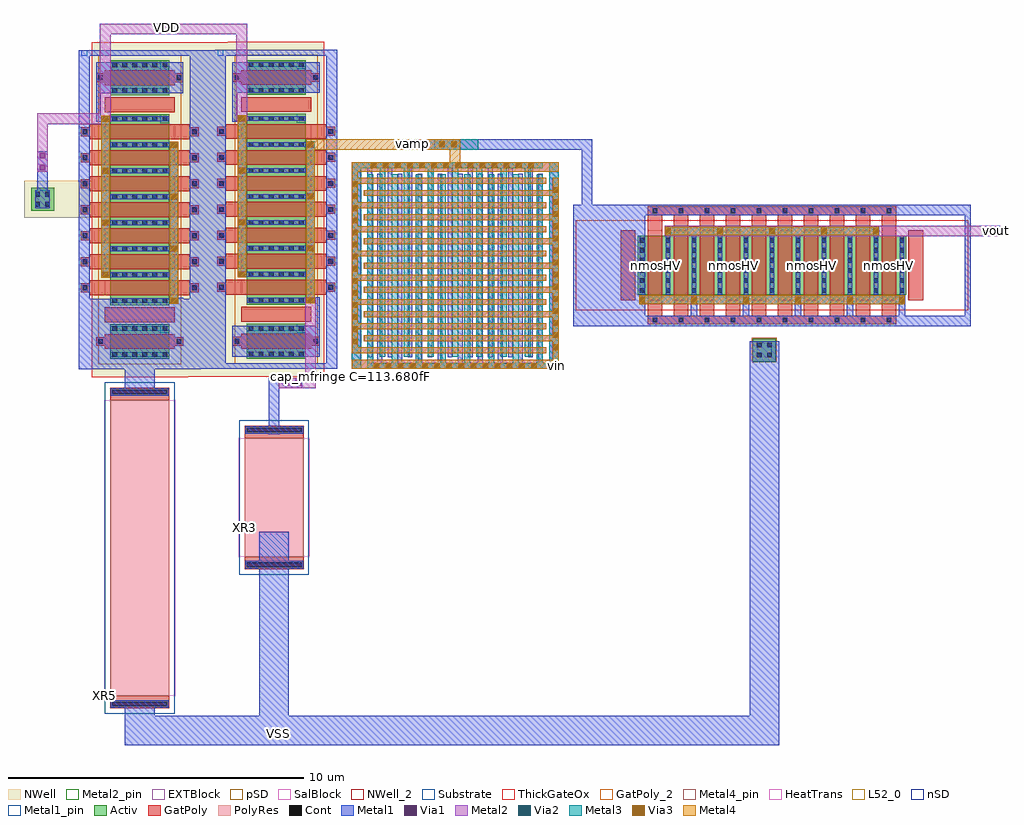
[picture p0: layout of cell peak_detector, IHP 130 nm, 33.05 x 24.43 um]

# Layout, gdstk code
from math import pi, radians
import gdstk
lib = gdstk.Library(unit=1e-6, precision=1e-09)
def R(c, l, rs):  # rectangles x0, y0, x1, y1
    for r in rs: c.add(gdstk.rectangle(r[:2], r[2:], *l))
def A(c, l, x, y, w, h, nx, ny, dx, dy):  # array of equal rectangles
    R(c, l, [(x+i*dx, y+j*dy, x+i*dx+w, y+j*dy+h) for i in range(nx) for j in range(ny)])
Activ = (1, 0)
GatPoly = (5, 0)
GatPoly_2 = (5, 2)
Cont = (6, 0)
nSD = (7, 0)
Metal1 = (8, 0)
Metal1_pin = (8, 2)
Metal2 = (10, 0)
Metal2_pin = (10, 2)
pSD = (14, 0)
Via1 = (19, 0)
SalBlock = (28, 0)
Via2 = (29, 0)
Metal3 = (30, 0)
NWell = (31, 0)
NWell_2 = (31, 2)
Substrate = (40, 0)
ThickGateOx = (44, 0)
Via3 = (49, 0)
Metal4 = (50, 0)
Metal4_pin = (50, 2)
HeatTrans = (51, 0)
L52_0 = (52, 0)
EXTBlock = (111, 0)
PolyRes = (128, 0)

pmoshv_priv1 = lib.new_cell('pmosHV_priv1')
A(pmoshv_priv1, Activ, 0, 0, 0.3, 0.3, 8, 1, 0.88, 0)
R(pmoshv_priv1, Activ, [(0,0,6.46,2)])
A(pmoshv_priv1, GatPoly, 0.44, -1, 0.3, 0.3, 7, 2, 0.88, 3.7)
A(pmoshv_priv1, GatPoly, 0.34, -0.7, 0.5, 0.52, 7, 2, 0.88, 2.88)
A(pmoshv_priv1, GatPoly, 0.34, -0.18, 0.5, 2.36, 7, 1, 0.88, 0)
R(pmoshv_priv1, GatPoly_2, [(0.34,-0.18,0.84,2.18)])
A(pmoshv_priv1, Cont, 0.51, -0.93, 0.16, 0.16, 7, 2, 0.88, 3.7)
A(pmoshv_priv1, Cont, 0.07, 0.07, 0.16, 0.16, 8, 6, 0.88, 0.34)
A(pmoshv_priv1, Metal1, 0.455, -1.06, 0.27, 0.36, 7, 2, 0.88, 3.76)
A(pmoshv_priv1, Metal1, 0.045, -0.31, 0.21, 0.29, 4, 1, 1.76, 0)
A(pmoshv_priv1, Metal1, 0.07, -0.035, 0.16, 0.05, 4, 1, 1.76, 0)
A(pmoshv_priv1, Metal1, 0.07, 0, 0.16, 2, 8, 1, 0.88, 0)
A(pmoshv_priv1, Metal1, 0.95, 1.985, 0.16, 0.05, 4, 1, 1.76, 0)
A(pmoshv_priv1, Metal1, 0.925, 2.02, 0.21, 0.29, 4, 1, 1.76, 0)
R(pmoshv_priv1, Metal1_pin, [(0.07,0,0.23,2), (0.95,0,1.11,2)])
A(pmoshv_priv1, Metal2, 0.05, -0.31, 0.2, 0.29, 4, 1, 1.76, 0)
A(pmoshv_priv1, Metal2, 0.93, 2.02, 0.2, 0.29, 4, 1, 1.76, 0)
R(pmoshv_priv1, Metal2, [(0.05,-0.31,5.53,-0.02), (0.93,2.02,6.41,2.31)])
R(pmoshv_priv1, pSD, [(-0.18,-0.4,6.64,2.4)])
A(pmoshv_priv1, Via1, 0.055, -0.26, 0.19, 0.19, 4, 1, 1.76, 0)
A(pmoshv_priv1, Via1, 0.935, 2.07, 0.19, 0.19, 4, 1, 1.76, 0)
A(pmoshv_priv1, Via2, 0.055, -0.26, 0.19, 0.19, 4, 1, 1.76, 0)
A(pmoshv_priv1, Via2, 0.935, 2.07, 0.19, 0.19, 4, 1, 1.76, 0)
A(pmoshv_priv1, Metal3, 0.05, -0.31, 0.2, 0.29, 4, 1, 1.76, 0)
A(pmoshv_priv1, Metal3, 0.93, 2.02, 0.2, 0.29, 4, 1, 1.76, 0)
R(pmoshv_priv1, Metal3, [(0.05,-0.31,5.53,-0.02), (0.93,2.02,6.41,2.31)])
R(pmoshv_priv1, NWell, [(-0.62,-0.62,7.08,2.62)])
R(pmoshv_priv1, Substrate, [(6.16,0,6.46,0.3)])
R(pmoshv_priv1, ThickGateOx, [(-0.62,-0.62,7.08,2.62)])
A(pmoshv_priv1, Via3, 0.055, -0.26, 0.19, 0.19, 4, 1, 1.76, 0)
A(pmoshv_priv1, Via3, 0.935, 2.07, 0.19, 0.19, 4, 1, 1.76, 0)
A(pmoshv_priv1, Metal4, 0.05, -0.31, 0.2, 0.29, 4, 1, 1.76, 0)
A(pmoshv_priv1, Metal4, 0.93, 2.02, 0.2, 0.29, 4, 1, 1.76, 0)
R(pmoshv_priv1, Metal4, [(0.05,-0.31,5.53,-0.02), (0.93,2.02,6.41,2.31)])
R(pmoshv_priv1, Metal4_pin, [(5.335,-0.26,5.525,-0.07), (6.215,2.07,6.405,2.26)])
A(pmoshv_priv1, HeatTrans, 0.34, -0.18, 0.5, 2.36, 7, 1, 0.88, 0)
pmoshv_priv1.add(gdstk.Label('pmosHV', (0.59,1), layer=63, texttype=0))
pmoshv_priv1.add(gdstk.Label('pmos', (0.59,1), layer=51, texttype=0))
pmoshv_priv1.add(gdstk.Label('pmos', (1.47,1), layer=51, texttype=0))
pmoshv_priv1.add(gdstk.Label('pmos', (2.35,1), layer=51, texttype=0))
pmoshv_priv1.add(gdstk.Label('pmos', (3.23,1), layer=51, texttype=0))
pmoshv_priv1.add(gdstk.Label('pmos', (4.11,1), layer=51, texttype=0))
pmoshv_priv1.add(gdstk.Label('pmos', (4.99,1), layer=51, texttype=0))
pmoshv_priv1.add(gdstk.Label('pmos', (5.87,1), layer=51, texttype=0))
pmoshv_priv1.add(gdstk.Label('S', (6.31,2.165), layer=50, texttype=0))
pmoshv_priv1.add(gdstk.Label('D', (5.43,-0.165), layer=50, texttype=0))

pmoshv_1_priv1 = lib.new_cell('pmosHV$1_priv1')
R(pmoshv_1_priv1, Activ, [(0,0,0.3,0.3), (0,0,1.18,2), (0.88,0,1.18,0.3)])
R(pmoshv_1_priv1, GatPoly, [(0.44,-0.48,0.74,-0.18), (0.34,-0.18,0.84,2.18), (0.44,2.18,0.74,2.48)])
R(pmoshv_1_priv1, GatPoly_2, [(0.34,-0.18,0.84,2.18)])
A(pmoshv_1_priv1, Cont, 0.07, 0.07, 0.16, 0.16, 1, 6, 0, 0.34)
A(pmoshv_1_priv1, Cont, 0.95, 0.07, 0.16, 0.16, 1, 6, 0, 0.34)
R(pmoshv_1_priv1, Cont, [(0.51,-0.41,0.67,-0.25), (0.51,2.25,0.67,2.41)])
R(pmoshv_1_priv1, Metal1, [(0.07,-0.48,1.11,2.48), (0.07,0,0.23,2), (0.95,0,1.11,2)])
R(pmoshv_1_priv1, Metal1_pin, [(0.07,0,0.23,2), (0.95,0,1.11,2)])
R(pmoshv_1_priv1, pSD, [(-0.18,-0.4,1.36,2.4)])
R(pmoshv_1_priv1, NWell, [(-0.62,-0.62,1.8,2.62)])
R(pmoshv_1_priv1, Substrate, [(0.88,0,1.18,0.3)])
R(pmoshv_1_priv1, ThickGateOx, [(-0.62,-0.62,1.8,2.62)])
R(pmoshv_1_priv1, HeatTrans, [(0.34,-0.18,0.84,2.18)])
pmoshv_1_priv1.add(gdstk.Label('pmosHV', (0.59,1), layer=63, texttype=0))
pmoshv_1_priv1.add(gdstk.Label('pmos', (0.59,1), layer=51, texttype=0))

pmoshv_1_priv2 = lib.new_cell('pmosHV$1_priv2')
R(pmoshv_1_priv2, Activ, [(0,0,0.3,0.3), (0,0,1.18,2), (0.88,0,1.18,0.3)])
R(pmoshv_1_priv2, GatPoly, [(0.44,-0.48,0.74,-0.18), (0.34,-0.18,0.84,2.18), (0.44,2.18,0.74,2.48)])
R(pmoshv_1_priv2, GatPoly_2, [(0.34,-0.18,0.84,2.18)])
A(pmoshv_1_priv2, Cont, 0.07, 0.07, 0.16, 0.16, 1, 6, 0, 0.34)
A(pmoshv_1_priv2, Cont, 0.95, 0.07, 0.16, 0.16, 1, 6, 0, 0.34)
R(pmoshv_1_priv2, Cont, [(0.51,-0.41,0.67,-0.25), (0.51,2.25,0.67,2.41)])
R(pmoshv_1_priv2, Metal1, [(0.07,-0.48,1.11,2.48), (0.07,0,0.23,2), (0.95,0,1.11,2)])
R(pmoshv_1_priv2, Metal1_pin, [(0.07,0,0.23,2), (0.95,0,1.11,2)])
R(pmoshv_1_priv2, pSD, [(-0.18,-0.4,1.36,2.4)])
R(pmoshv_1_priv2, NWell, [(-0.62,-0.62,1.8,2.62)])
R(pmoshv_1_priv2, Substrate, [(0.88,0,1.18,0.3)])
R(pmoshv_1_priv2, ThickGateOx, [(-0.62,-0.62,1.8,2.62)])
R(pmoshv_1_priv2, HeatTrans, [(0.34,-0.18,0.84,2.18)])
pmoshv_1_priv2.add(gdstk.Label('pmosHV', (0.59,1), layer=63, texttype=0))
pmoshv_1_priv2.add(gdstk.Label('pmos', (0.59,1), layer=51, texttype=0))

group2 = lib.new_cell('GROUP2')
R(group2, GatPoly, [(59.685,-50.99,60.185,-48.63), (66.79,-50.99,67.29,-48.63)])
R(group2, Metal1, [(58.085,-51.87,68.895,-51.51), (58.085,-51.87,58.285,-47.75), (68.695,-51.87,68.895,-47.75), (59.545,-51.29,60.515,-51.13), (60.305,-51.13,60.515,-50.83), (66.465,-48.79,66.675,-48.49), (66.465,-48.49,67.435,-48.33), (58.085,-48.11,68.895,-47.75)])
R(group2, Metal1_pin, [(68.695,-48.025,68.895,-47.835)])
group2.add(gdstk.Reference(pmoshv_priv1, (60.26,-50.81)))
group2.add(gdstk.Reference(pmoshv_1_priv1, (67.365,-50.81)))
group2.add(gdstk.Reference(pmoshv_1_priv2, (58.435,-50.81)))
group2.add(gdstk.Label('G', (68.895,-47.93), layer=8, texttype=0))
group2.add(gdstk.Label('XM28', (62.89,-47.45), layer=1000, texttype=0))
group2.add(gdstk.Label('XM24', (63.49,-47.45), layer=1000, texttype=0))
group2.add(gdstk.Label('XM26', (64.09,-47.45), layer=1000, texttype=0))

pmoshv_priv2 = lib.new_cell('pmosHV_priv2')
A(pmoshv_priv2, Activ, 0, 0, 0.3, 0.3, 8, 1, 0.88, 0)
R(pmoshv_priv2, Activ, [(0,0,6.46,2)])
A(pmoshv_priv2, GatPoly, 0.44, -1, 0.3, 0.3, 7, 2, 0.88, 3.7)
A(pmoshv_priv2, GatPoly, 0.34, -0.7, 0.5, 0.52, 7, 2, 0.88, 2.88)
A(pmoshv_priv2, GatPoly, 0.34, -0.18, 0.5, 2.36, 7, 1, 0.88, 0)
R(pmoshv_priv2, GatPoly_2, [(0.34,-0.18,0.84,2.18)])
A(pmoshv_priv2, Cont, 0.51, -0.93, 0.16, 0.16, 7, 2, 0.88, 3.7)
A(pmoshv_priv2, Cont, 0.07, 0.07, 0.16, 0.16, 8, 6, 0.88, 0.34)
A(pmoshv_priv2, Metal1, 0.455, -1.06, 0.27, 0.36, 7, 2, 0.88, 3.76)
A(pmoshv_priv2, Metal1, 0.045, -0.31, 0.21, 0.29, 4, 1, 1.76, 0)
A(pmoshv_priv2, Metal1, 0.07, -0.035, 0.16, 0.05, 4, 1, 1.76, 0)
A(pmoshv_priv2, Metal1, 0.07, 0, 0.16, 2, 8, 1, 0.88, 0)
A(pmoshv_priv2, Metal1, 0.95, 1.985, 0.16, 0.05, 4, 1, 1.76, 0)
A(pmoshv_priv2, Metal1, 0.925, 2.02, 0.21, 0.29, 4, 1, 1.76, 0)
R(pmoshv_priv2, Metal1_pin, [(0.07,0,0.23,2), (0.95,0,1.11,2)])
A(pmoshv_priv2, Metal2, 0.05, -0.31, 0.2, 0.29, 4, 1, 1.76, 0)
A(pmoshv_priv2, Metal2, 0.93, 2.02, 0.2, 0.29, 4, 1, 1.76, 0)
R(pmoshv_priv2, Metal2, [(0.05,-0.31,5.53,-0.02), (0.93,2.02,6.41,2.31)])
R(pmoshv_priv2, pSD, [(-0.18,-0.4,6.64,2.4)])
A(pmoshv_priv2, Via1, 0.055, -0.26, 0.19, 0.19, 4, 1, 1.76, 0)
A(pmoshv_priv2, Via1, 0.935, 2.07, 0.19, 0.19, 4, 1, 1.76, 0)
A(pmoshv_priv2, Via2, 0.055, -0.26, 0.19, 0.19, 4, 1, 1.76, 0)
A(pmoshv_priv2, Via2, 0.935, 2.07, 0.19, 0.19, 4, 1, 1.76, 0)
A(pmoshv_priv2, Metal3, 0.05, -0.31, 0.2, 0.29, 4, 1, 1.76, 0)
A(pmoshv_priv2, Metal3, 0.93, 2.02, 0.2, 0.29, 4, 1, 1.76, 0)
R(pmoshv_priv2, Metal3, [(0.05,-0.31,5.53,-0.02), (0.93,2.02,6.41,2.31)])
R(pmoshv_priv2, NWell, [(-0.62,-0.62,7.08,2.62)])
R(pmoshv_priv2, Substrate, [(6.16,0,6.46,0.3)])
R(pmoshv_priv2, ThickGateOx, [(-0.62,-0.62,7.08,2.62)])
A(pmoshv_priv2, Via3, 0.055, -0.26, 0.19, 0.19, 4, 1, 1.76, 0)
A(pmoshv_priv2, Via3, 0.935, 2.07, 0.19, 0.19, 4, 1, 1.76, 0)
A(pmoshv_priv2, Metal4, 0.05, -0.31, 0.2, 0.29, 4, 1, 1.76, 0)
A(pmoshv_priv2, Metal4, 0.93, 2.02, 0.2, 0.29, 4, 1, 1.76, 0)
R(pmoshv_priv2, Metal4, [(0.05,-0.31,5.53,-0.02), (0.93,2.02,6.41,2.31)])
R(pmoshv_priv2, Metal4_pin, [(5.335,-0.26,5.525,-0.07), (6.215,2.07,6.405,2.26)])
A(pmoshv_priv2, HeatTrans, 0.34, -0.18, 0.5, 2.36, 7, 1, 0.88, 0)
pmoshv_priv2.add(gdstk.Label('pmosHV', (0.59,1), layer=63, texttype=0))
pmoshv_priv2.add(gdstk.Label('pmos', (0.59,1), layer=51, texttype=0))
pmoshv_priv2.add(gdstk.Label('pmos', (1.47,1), layer=51, texttype=0))
pmoshv_priv2.add(gdstk.Label('pmos', (2.35,1), layer=51, texttype=0))
pmoshv_priv2.add(gdstk.Label('pmos', (3.23,1), layer=51, texttype=0))
pmoshv_priv2.add(gdstk.Label('pmos', (4.11,1), layer=51, texttype=0))
pmoshv_priv2.add(gdstk.Label('pmos', (4.99,1), layer=51, texttype=0))
pmoshv_priv2.add(gdstk.Label('pmos', (5.87,1), layer=51, texttype=0))
pmoshv_priv2.add(gdstk.Label('S', (6.31,2.165), layer=50, texttype=0))
pmoshv_priv2.add(gdstk.Label('D', (5.43,-0.165), layer=50, texttype=0))

pmoshv_1_priv3 = lib.new_cell('pmosHV$1_priv3')
R(pmoshv_1_priv3, Activ, [(0,0,0.3,0.3), (0,0,1.18,2), (0.88,0,1.18,0.3)])
R(pmoshv_1_priv3, GatPoly, [(0.44,-0.48,0.74,-0.18), (0.34,-0.18,0.84,2.18), (0.44,2.18,0.74,2.48)])
R(pmoshv_1_priv3, GatPoly_2, [(0.34,-0.18,0.84,2.18)])
A(pmoshv_1_priv3, Cont, 0.07, 0.07, 0.16, 0.16, 1, 6, 0, 0.34)
A(pmoshv_1_priv3, Cont, 0.95, 0.07, 0.16, 0.16, 1, 6, 0, 0.34)
R(pmoshv_1_priv3, Cont, [(0.51,-0.41,0.67,-0.25), (0.51,2.25,0.67,2.41)])
R(pmoshv_1_priv3, Metal1, [(0.07,-0.48,1.11,2.48), (0.07,0,0.23,2), (0.95,0,1.11,2)])
R(pmoshv_1_priv3, Metal1_pin, [(0.07,0,0.23,2), (0.95,0,1.11,2)])
R(pmoshv_1_priv3, pSD, [(-0.18,-0.4,1.36,2.4)])
R(pmoshv_1_priv3, NWell, [(-0.62,-0.62,1.8,2.62)])
R(pmoshv_1_priv3, Substrate, [(0.88,0,1.18,0.3)])
R(pmoshv_1_priv3, ThickGateOx, [(-0.62,-0.62,1.8,2.62)])
R(pmoshv_1_priv3, HeatTrans, [(0.34,-0.18,0.84,2.18)])
pmoshv_1_priv3.add(gdstk.Label('pmosHV', (0.59,1), layer=63, texttype=0))
pmoshv_1_priv3.add(gdstk.Label('pmos', (0.59,1), layer=51, texttype=0))

pmoshv_1_priv4 = lib.new_cell('pmosHV$1_priv4')
R(pmoshv_1_priv4, Activ, [(0,0,0.3,0.3), (0,0,1.18,2), (0.88,0,1.18,0.3)])
R(pmoshv_1_priv4, GatPoly, [(0.44,-0.48,0.74,-0.18), (0.34,-0.18,0.84,2.18), (0.44,2.18,0.74,2.48)])
R(pmoshv_1_priv4, GatPoly_2, [(0.34,-0.18,0.84,2.18)])
A(pmoshv_1_priv4, Cont, 0.07, 0.07, 0.16, 0.16, 1, 6, 0, 0.34)
A(pmoshv_1_priv4, Cont, 0.95, 0.07, 0.16, 0.16, 1, 6, 0, 0.34)
R(pmoshv_1_priv4, Cont, [(0.51,-0.41,0.67,-0.25), (0.51,2.25,0.67,2.41)])
R(pmoshv_1_priv4, Metal1, [(0.07,-0.48,1.11,2.48), (0.07,0,0.23,2), (0.95,0,1.11,2)])
R(pmoshv_1_priv4, Metal1_pin, [(0.07,0,0.23,2), (0.95,0,1.11,2)])
R(pmoshv_1_priv4, pSD, [(-0.18,-0.4,1.36,2.4)])
R(pmoshv_1_priv4, NWell, [(-0.62,-0.62,1.8,2.62)])
R(pmoshv_1_priv4, Substrate, [(0.88,0,1.18,0.3)])
R(pmoshv_1_priv4, ThickGateOx, [(-0.62,-0.62,1.8,2.62)])
R(pmoshv_1_priv4, HeatTrans, [(0.34,-0.18,0.84,2.18)])
pmoshv_1_priv4.add(gdstk.Label('pmosHV', (0.59,1), layer=63, texttype=0))
pmoshv_1_priv4.add(gdstk.Label('pmos', (0.59,1), layer=51, texttype=0))

group3 = lib.new_cell('GROUP3')
R(group3, GatPoly, [(218.575,-43.19,219.075,-40.83), (225.68,-43.19,226.18,-40.83)])
R(group3, Metal1, [(216.975,-44.07,227.785,-43.71), (216.975,-44.07,217.175,-39.95), (227.585,-44.07,227.785,-39.95), (218.435,-43.49,219.405,-43.33), (219.195,-43.33,219.405,-43.03), (225.355,-40.99,225.565,-40.69), (225.355,-40.69,226.325,-40.53), (216.975,-40.31,227.785,-39.95)])
R(group3, Metal1_pin, [(227.585,-40.225,227.785,-40.035)])
group3.add(gdstk.Reference(pmoshv_priv2, (219.15,-43.01)))
group3.add(gdstk.Reference(pmoshv_1_priv3, (226.255,-43.01)))
group3.add(gdstk.Reference(pmoshv_1_priv4, (217.325,-43.01)))
group3.add(gdstk.Label('G', (227.785,-40.13), layer=8, texttype=0))
group3.add(gdstk.Label('XM27', (221.78,-39.65), layer=1000, texttype=0))
group3.add(gdstk.Label('XM25', (222.38,-39.65), layer=1000, texttype=0))
group3.add(gdstk.Label('XM13', (222.98,-39.65), layer=1000, texttype=0))

via_stack_1 = lib.new_cell('via_stack$1')
R(via_stack_1, Metal1, [(-0.35,-0.105,0.35,0.105)])
R(via_stack_1, Metal2, [(-0.35,-0.1,0.35,0.1)])
R(via_stack_1, Via1, [(-0.3,-0.095,-0.11,0.095), (0.11,-0.095,0.3,0.095)])
R(via_stack_1, Via2, [(-0.3,-0.095,-0.11,0.095), (0.11,-0.095,0.3,0.095)])
R(via_stack_1, Metal3, [(-0.35,-0.1,0.35,0.1)])
R(via_stack_1, Via3, [(-0.3,-0.095,-0.11,0.095), (0.11,-0.095,0.3,0.095)])
R(via_stack_1, Metal4, [(-0.35,-0.1,0.35,0.1)])

via_stack = lib.new_cell('via_stack')
R(via_stack, Metal1, [(-0.35,-0.105,0.35,0.105)])
R(via_stack, Metal2, [(-0.35,-0.1,0.35,0.1)])
R(via_stack, Via1, [(-0.3,-0.095,-0.11,0.095), (0.11,-0.095,0.3,0.095)])

ptap1 = lib.new_cell('ptap1')
R(ptap1, Activ, [(0,0,0.78,0.78)])
R(ptap1, Cont, [(0.14,0.14,0.3,0.3), (0.48,0.14,0.64,0.3), (0.14,0.48,0.3,0.64), (0.48,0.48,0.64,0.64)])
R(ptap1, Metal1, [(0.14,0.09,0.64,0.69), (0.14,0.14,0.64,0.64)])
R(ptap1, Metal1_pin, [(0.14,0.14,0.64,0.64)])
R(ptap1, pSD, [(-0.03,-0.03,0.81,0.81)])
R(ptap1, Substrate, [(0,0,0.78,0.78)])
ptap1.add(gdstk.Label('sub!', (0.39,0.01), layer=63, texttype=0))
ptap1.add(gdstk.Label('sub!', (0.39,0.01), layer=40, texttype=0))

ntap1 = lib.new_cell('ntap1')
R(ntap1, Activ, [(0,0,0.78,0.78)])
R(ntap1, Cont, [(0.14,0.14,0.3,0.3), (0.48,0.14,0.64,0.3), (0.14,0.48,0.3,0.64), (0.48,0.48,0.64,0.64)])
R(ntap1, Metal1, [(0.14,0.09,0.64,0.69)])
R(ntap1, Metal1_pin, [(0.14,0.09,0.64,0.69), (0.14,0.14,0.64,0.64)])
R(ntap1, NWell, [(-0.24,-0.24,1.02,1.02), (0,0,0.78,0.78)])
R(ntap1, NWell_2, [(0,0,0.78,0.78)])
ntap1.add(gdstk.Label('well', (0.39,0.01), layer=63, texttype=0))
ntap1.add(gdstk.Label('well', (0.39,0.01), layer=31, texttype=0))

rhigh = lib.new_cell('rhigh')
R(rhigh, GatPoly, [(0,-0.43,2,0), (0,10,2,10.43)])
R(rhigh, Cont, [(0.07,-0.36,1.93,-0.2), (0.07,10.2,1.93,10.36)])
R(rhigh, nSD, [(-0.18,-0.61,2.18,0.18), (-0.18,0,2.18,10), (-0.18,0,2.18,10), (-0.18,9.82,2.18,10.61)])
R(rhigh, Metal1, [(0.02,-0.41,1.98,-0.15), (0.02,10.15,1.98,10.41)])
R(rhigh, Metal1_pin, [(0.02,-0.41,1.98,-0.15), (0.02,10.15,1.98,10.41)])
R(rhigh, pSD, [(-0.18,-0.61,2.18,0.18), (-0.18,0,2.18,10), (-0.18,0,2.18,10), (-0.18,9.82,2.18,10.61)])
R(rhigh, SalBlock, [(-0.2,0,2.2,10)])
R(rhigh, L52_0, [(0,0,2,10)])
R(rhigh, EXTBlock, [(-0.18,-0.61,2.18,0.18), (-0.2,0,2.2,10), (-0.18,9.82,2.18,10.61)])
R(rhigh, PolyRes, [(0,0,2,10)])
rhigh.add(gdstk.Label('rhigh r=7018.776', (1,5), layer=63, texttype=0))
rhigh.add(gdstk.Label('rhigh', (1,5), layer=52, texttype=0))

rhigh_1 = lib.new_cell('rhigh$1')
R(rhigh_1, GatPoly, [(0,-0.43,2,0), (0,4,2,4.43)])
R(rhigh_1, Cont, [(0.07,-0.36,1.93,-0.2), (0.07,4.2,1.93,4.36)])
R(rhigh_1, nSD, [(-0.18,-0.61,2.18,0.18), (-0.18,0,2.18,4), (-0.18,0,2.18,4), (-0.18,3.82,2.18,4.61)])
R(rhigh_1, Metal1, [(0.02,-0.41,1.98,-0.15), (0.02,4.15,1.98,4.41)])
R(rhigh_1, Metal1_pin, [(0.02,-0.41,1.98,-0.15), (0.02,4.15,1.98,4.41)])
R(rhigh_1, pSD, [(-0.18,-0.61,2.18,0.18), (-0.18,0,2.18,4), (-0.18,0,2.18,4), (-0.18,3.82,2.18,4.61)])
R(rhigh_1, SalBlock, [(-0.2,0,2.2,4)])
R(rhigh_1, L52_0, [(0,0,2,4)])
R(rhigh_1, EXTBlock, [(-0.18,-0.61,2.18,0.18), (-0.2,0,2.2,4), (-0.18,3.82,2.18,4.61)])
R(rhigh_1, PolyRes, [(0,0,2,4)])
rhigh_1.add(gdstk.Label('rhigh r=2855.510', (1,2), layer=63, texttype=0))
rhigh_1.add(gdstk.Label('rhigh', (1,2), layer=52, texttype=0))

peak_detector = lib.new_cell('peak_detector')
A(peak_detector, Activ, 82.56, 0.52, 0.3, 0.3, 11, 1, 0.88, 0)
R(peak_detector, Activ, [(82.56,0.52,91.66,2.52)])
A(peak_detector, GatPoly, 83, -0.48, 0.3, 0.3, 10, 2, 0.88, 3.7)
A(peak_detector, GatPoly, 82.9, -0.18, 0.5, 0.52, 10, 2, 0.88, 2.88)
A(peak_detector, GatPoly, 82.9, 0.34, 0.5, 2.36, 10, 1, 0.88, 0)
R(peak_detector, GatPoly, [(82.9,-0.48,91.32,-0.18), (81.985,0.34,82.485,2.7), (91.73,0.34,92.23,2.7), (82.9,3.22,91.32,3.52)])
R(peak_detector, GatPoly_2, [(82.9,0.34,83.4,2.7)])
A(peak_detector, Cont, 83.07, -0.41, 0.16, 0.16, 10, 2, 0.88, 3.7)
A(peak_detector, Cont, 82.63, 0.59, 0.16, 0.16, 11, 6, 0.88, 0.34)
A(peak_detector, Metal1, 73.75, -1.99, 0.16, 6.61, 9, 1, 0.68, 0)
A(peak_detector, Metal1, 73.41, -1.6, 0.16, 6.61, 9, 1, 0.68, 0)
A(peak_detector, Metal1, 83.015, -0.54, 0.27, 0.36, 10, 2, 0.88, 3.76)
A(peak_detector, Metal1, 84.365, -0.18, 0.21, 0.01, 5, 1, 1.76, 0)
A(peak_detector, Metal1, 84.365, -0.17, 0.21, 0.67, 5, 1, 1.76, 0)
A(peak_detector, Metal1, 82.605, 0.21, 0.21, 0.29, 6, 1, 1.76, 0)
A(peak_detector, Metal1, 82.63, 0.485, 0.16, 0.05, 6, 1, 1.76, 0)
A(peak_detector, Metal1, 82.63, 0.52, 0.16, 2, 11, 1, 0.88, 0)
A(peak_detector, Metal1, 83.51, 2.505, 0.16, 0.05, 5, 1, 1.76, 0)
A(peak_detector, Metal1, 83.485, 2.54, 0.21, 0.29, 5, 1, 1.76, 0)
R(peak_detector, Metal1, [(67.76,-1.99,68.26,8.81), (72.88,-1.99,73.19,5.01), (73.41,-1.99,79.88,-1.78), (79.57,-1.99,79.88,5.01), (64,-1.8,67.4,0.39), (80.385,-0.54,93.835,-0.18), (80.385,-0.54,80.585,3.58), (93.635,-0.54,93.835,3.58), (80.585,-0.18,82.815,0.04), (91.405,-0.18,91.615,-0.17), (80.585,0.04,82.815,3.22), (80.805,0.04,81.845,3), (81.845,0.04,82.815,0.2), (82.605,0.2,82.815,0.5), (80.805,0.52,80.965,2.52), (81.685,0.52,81.845,2.52), (90.525,2.54,90.735,2.84), (80.385,3.22,93.835,3.58), (72.88,4.8,79.35,5.01)])
R(peak_detector, Metal1_pin, [(70.335,-14.415,70.465,-14.285), (82.63,0.52,82.79,2.52), (83.51,0.52,83.67,2.52)])
A(peak_detector, Metal2, 72.88, -1.46, 6.58, 0.2, 1, 8, 0, 0.82)
A(peak_detector, Metal2, 73.3, -1.05, 6.58, 0.2, 1, 7, 0, 0.82)
A(peak_detector, Metal2, 82.61, 0.21, 0.2, 0.29, 6, 1, 1.76, 0)
A(peak_detector, Metal2, 83.49, 2.54, 0.2, 0.29, 5, 1, 1.76, 0)
R(peak_detector, Metal2, [(72.88,-1.99,79.88,-1.67), (79.675,-1.99,79.88,4.48), (72.88,-1.46,73.085,5.01), (82.61,0.21,91.61,0.5), (83.49,2.54,90.73,2.83), (72.88,4.69,79.88,5.01), (75.15,5.435,77.16,5.795)])
R(peak_detector, Metal2_pin, [(79.73,-1.93,79.86,-1.8), (94.645,2.625,94.775,2.755), (66.535,9.495,66.665,9.625)])
R(peak_detector, pSD, [(64.3,-0.29,67.1,-0.005), (68.92,-0.28,71.72,0.005), (64.3,6.815,67.1,7.1), (68.92,6.825,71.72,7.11)])
A(peak_detector, Via1, 73.62, -1.98, 0.19, 0.19, 14, 1, 0.41, 0)
A(peak_detector, Via1, 79.68, -1.35, 0.19, 0.19, 1, 14, 0, 0.41)
A(peak_detector, Via1, 72.89, -1.15, 0.19, 0.19, 1, 14, 0, 0.41)
A(peak_detector, Via1, 82.615, 0.26, 0.19, 0.19, 6, 1, 1.76, 0)
A(peak_detector, Via1, 83.495, 2.59, 0.19, 0.19, 5, 1, 1.76, 0)
A(peak_detector, Via1, 73.52, 4.81, 0.19, 0.19, 14, 1, 0.41, 0)
A(peak_detector, Via2, 73.62, -1.985, 0.19, 0.19, 14, 1, 0.41, 0)
A(peak_detector, Via2, 79.685, -1.35, 0.19, 0.19, 1, 14, 0, 0.41)
A(peak_detector, Via2, 72.885, -1.15, 0.19, 0.19, 1, 14, 0, 0.41)
A(peak_detector, Via2, 82.615, 0.26, 0.19, 0.19, 6, 1, 1.76, 0)
A(peak_detector, Via2, 83.495, 2.59, 0.19, 0.19, 5, 1, 1.76, 0)
A(peak_detector, Via2, 73.52, 4.815, 0.19, 0.19, 14, 1, 0.41, 0)
A(peak_detector, Metal3, 73.41, -1.99, 0.2, 6.59, 8, 1, 0.82, 0)
A(peak_detector, Metal3, 73.82, -1.58, 0.2, 6.59, 7, 1, 0.82, 0)
A(peak_detector, Metal3, 82.61, 0.21, 0.2, 0.29, 6, 1, 1.76, 0)
A(peak_detector, Metal3, 83.49, 2.54, 0.2, 0.29, 5, 1, 1.76, 0)
R(peak_detector, Metal3, [(72.88,-1.99,73.2,5.01), (73.41,-1.99,79.88,-1.79), (79.56,-1.99,79.88,5.01), (82.61,0.21,91.61,0.5), (83.49,2.54,90.73,2.83), (72.88,4.81,79.35,5.01), (75.15,5.435,77.16,5.795)])
R(peak_detector, NWell, [(67.32,-2.26,68.7,9.08), (63.04,3.13,65.29,4.39)])
R(peak_detector, ThickGateOx, [(67.32,-2.26,68.7,9.08), (80.465,0,82.185,3.04), (82.185,0,82.29,3.04), (82.29,0,91.93,3.04), (91.93,0,92.035,3.04), (92.035,0,93.755,3.04)])
A(peak_detector, Via3, 73.62, -1.985, 0.19, 0.19, 14, 1, 0.41, 0)
A(peak_detector, Via3, 79.685, -1.35, 0.19, 0.19, 1, 14, 0, 0.41)
A(peak_detector, Via3, 72.885, -1.15, 0.19, 0.19, 1, 14, 0, 0.41)
A(peak_detector, Via3, 82.615, 0.26, 0.19, 0.19, 6, 1, 1.76, 0)
A(peak_detector, Via3, 83.495, 2.59, 0.19, 0.19, 5, 1, 1.76, 0)
A(peak_detector, Via3, 73.52, 4.815, 0.19, 0.19, 14, 1, 0.41, 0)
A(peak_detector, Metal4, 72.88, -1.46, 6.59, 0.2, 1, 8, 0, 0.82)
A(peak_detector, Metal4, 73.29, -1.05, 6.59, 0.2, 1, 7, 0, 0.82)
A(peak_detector, Metal4, 82.61, 0.21, 0.2, 0.29, 6, 1, 1.76, 0)
A(peak_detector, Metal4, 83.49, 2.54, 0.2, 0.29, 5, 1, 1.76, 0)
R(peak_detector, Metal4, [(72.88,-1.99,79.88,-1.67), (79.68,-1.99,79.88,4.48), (72.88,-1.46,73.08,5.01), (82.61,0.21,91.61,0.5), (83.49,2.54,90.73,2.83), (72.88,4.69,79.88,5.01)])
R(peak_detector, Metal4_pin, [(79.68,1.41,79.88,1.61), (76.28,4.81,76.48,5.01), (74.865,5.575,74.995,5.705)])
A(peak_detector, HeatTrans, 82.9, 0.34, 0.5, 2.36, 10, 1, 0.88, 0)
peak_detector.add(gdstk.FlexPath([(80.85,3.58),(80.85,5.615),(75.67,5.615)], 0.36, ends="flush", simple_path=True, layer=8, datatype=0))  # Metal1
peak_detector.add(gdstk.FlexPath([(65.7,-2),(65.7,-2.9)], 1, ends="flush", simple_path=True, layer=8, datatype=0))  # Metal1
peak_detector.add(gdstk.FlexPath([(70.25,-4.2),(70.25,-2.46),(71.21,-2.46)], 0.36, ends="flush", simple_path=True, layer=8, datatype=0))  # Metal1
peak_detector.add(gdstk.FlexPath([(86.85,-1.05),(86.85,-14.23),(70.25,-14.23),(70.25,-14.23)], 1, ends="flush", simple_path=True, layer=8, datatype=0))  # Metal1
peak_detector.add(gdstk.FlexPath([(65.7,-13.2),(65.7,-14.23),(70.25,-14.23),(70.25,-7.5)], 1, ends="flush", simple_path=True, layer=8, datatype=0))  # Metal1
peak_detector.add(gdstk.FlexPath([(62.41,3.46),(62.41,5.39)], 0.36, ends="flush", simple_path=True, layer=8, datatype=0))  # Metal1
peak_detector.add(gdstk.FlexPath([(83.485,2.685),(94.83,2.685)], 0.36, ends="flush", simple_path=True, layer=10, datatype=0))  # Metal2
peak_detector.add(gdstk.FlexPath([(64.53,6.38),(64.53,9.52),(69.155,9.52),(69.155,6.4)], 0.36, ends="flush", simple_path=True, layer=10, datatype=0))  # Metal2
peak_detector.add(gdstk.FlexPath([(71.485,0.44),(71.485,-2.46),(70.4,-2.46)], 0.36, ends="flush", simple_path=True, layer=10, datatype=0))  # Metal2
peak_detector.add(gdstk.FlexPath([(62.41,4.69),(62.41,6.485),(64.68,6.485)], 0.36, ends="flush", simple_path=True, layer=10, datatype=0))  # Metal2
peak_detector.add(gdstk.FlexPath([(71.34,5.615),(76.38,5.615),(76.38,4.81)], 0.36, ends="flush", simple_path=True, layer=50, datatype=0))  # Metal4
peak_detector.add(gdstk.Reference(group2, (15.89,-60.085), rotation=pi/2))
peak_detector.add(gdstk.Reference(group3, (28.31,-218.965), rotation=pi/2))
peak_detector.add(gdstk.Reference(via_stack_1, (76.14,5.62)))
peak_detector.add(gdstk.Reference(via_stack, (70.86,-2.46), rotation=pi))
peak_detector.add(gdstk.Reference(ptap1, (86.46,-1.74)))
peak_detector.add(gdstk.Reference(ntap1, (62.02,3.37)))
peak_detector.add(gdstk.Reference(via_stack, (62.41,5.04), rotation=3*pi/2))
peak_detector.add(gdstk.Reference(rhigh, (64.7,-13.05)))
peak_detector.add(gdstk.Reference(rhigh_1, (69.25,-8.34)))
peak_detector.add(gdstk.Label('cap_mfringe C=113.680fF', (72.83,-2.24), layer=63, texttype=0))
peak_detector.add(gdstk.Label('nmosHV', (83.15,1.52), layer=63, texttype=0))
peak_detector.add(gdstk.Label('nmosHV', (83.15,1.52), layer=51, texttype=0))
peak_detector.add(gdstk.Label('nmosHV', (84.03,1.52), layer=51, texttype=0))
peak_detector.add(gdstk.Label('nmosHV', (84.91,1.52), layer=51, texttype=0))
peak_detector.add(gdstk.Label('nmosHV', (85.79,1.52), layer=51, texttype=0))
peak_detector.add(gdstk.Label('nmosHV', (86.67,1.52), layer=51, texttype=0))
peak_detector.add(gdstk.Label('nmosHV', (87.55,1.52), layer=51, texttype=0))
peak_detector.add(gdstk.Label('nmosHV', (88.43,1.52), layer=51, texttype=0))
peak_detector.add(gdstk.Label('nmosHV', (89.31,1.52), layer=51, texttype=0))
peak_detector.add(gdstk.Label('nmosHV', (90.19,1.52), layer=51, texttype=0))
peak_detector.add(gdstk.Label('nmosHV', (91.07,1.52), layer=51, texttype=0))
peak_detector.add(gdstk.Label('XR5', (64.49,-13.05), layer=1000, texttype=0))
peak_detector.add(gdstk.Label('XR3', (69.25,-7.35), layer=1000, texttype=0))
peak_detector.add(gdstk.Label('VSS', (70.4,-14.35), layer=8, texttype=25))
peak_detector.add(gdstk.Label('vin', (79.8,-1.87), layer=10, texttype=25))
peak_detector.add(gdstk.Label('VDD', (66.6,9.56), layer=10, texttype=25))
peak_detector.add(gdstk.Label('vout', (94.71,2.69), layer=10, texttype=25))
peak_detector.add(gdstk.Label('vamp', (74.93,5.64), layer=50, texttype=25))

lib.write_gds('peak_detector.gds')
